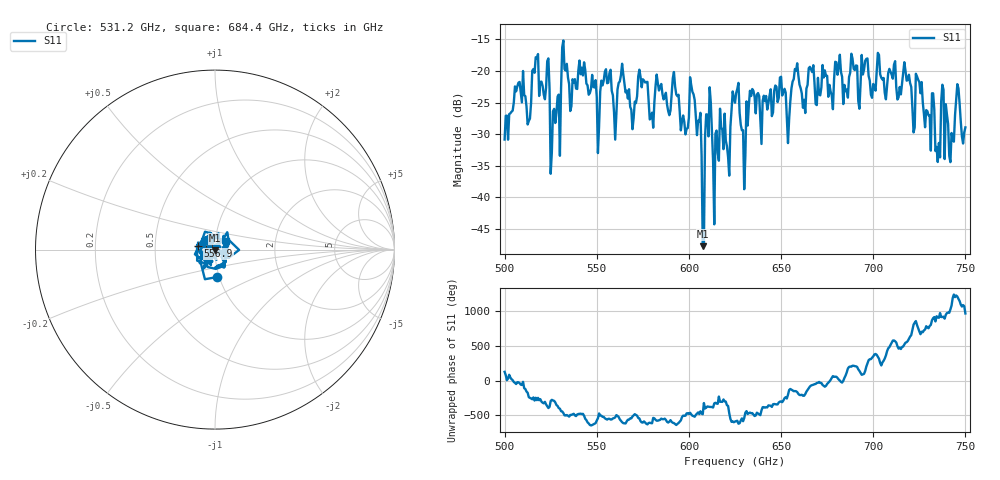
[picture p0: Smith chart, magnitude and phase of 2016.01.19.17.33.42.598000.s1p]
!Created with skrf (http://scikit-rf.org).
# GHz S RI R 50.0
!freq ReS11 ImS11
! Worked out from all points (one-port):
!   401 points, 500 GHz to 750 GHz, reference 50 ohm
!   lowest |S11| = -47.7 dB at 607.5 GHz (marker M1), VSWR 1.01, Z = 49.8 - j0.33 ohm
!   |S11| at or under -10 dB: start of sweep to end of sweep
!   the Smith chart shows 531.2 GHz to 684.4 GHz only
!   S11 on the Smith chart (normalised r, x): 531.2 GHz: 0.97, -0.31; 556.9 GHz: 0.83, +0.03; 684.4 GHz: 1.13, +0.11
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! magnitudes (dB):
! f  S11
! 500 GHz  -30.8
! 506.9 GHz  -22.5
! 513.1 GHz  -27.9
! 516.9 GHz  -17.8
! 523.1 GHz  -18.4
! 526.2 GHz  -26.4
! 531.2 GHz  -16.3
! 556.9 GHz  -20.4
! 559.4 GHz  -26.6
! 562.5 GHz  -21.7
! 569.4 GHz  -29.2
! 573.8 GHz  -20.9
! 593.8 GHz  -24.0
! 598.8 GHz  -29.1
! 601.9 GHz  -23.3
! 607.5 GHz  -47.7
! 610.6 GHz  -30.3
! 615 GHz  -29.4
! 625 GHz  -25.0
! 629.4 GHz  -29.4
! 634.4 GHz  -22.9
! 656.2 GHz  -21.7
! 684.4 GHz  -22.2
! 687.5 GHz  -20.3
! 718.8 GHz  -21.4
! 735 GHz  -34.4
! 738.1 GHz  -23.0
! 750 GHz  -28.9
